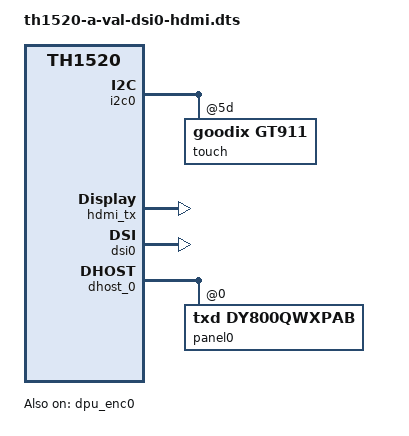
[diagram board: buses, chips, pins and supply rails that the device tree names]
/* SPDX-License-Identifier: GPL-2.0 */
/*
 * Copyright (C) 2021 Alibaba Group Holding Limited.
 */

/dts-v1/;

#include "th1520-a-val.dtsi"

&i2c0 {
	touch@5d {
		compatible = "goodix,gt911";
		touchscreen-size-x = <800>;
		touchscreen-size-y = <1280>;
		status = "okay";
	};
};

&dpu_enc0 {
	status = "okay";
};

&dpu_enc1 {
        ports {
                /delete-node/ port@0;
        };
};

&disp1_out {
	remote-endpoint = <&hdmi_tx_in>;
};

&hdmi_tx {
	status = "okay";
};

&dsi0 {
        status = "okay";
};

&dhost_0 {
	status = "okay";

	panel0@0 {
		compatible = "txd,dy800qwxpab";
	};
};
